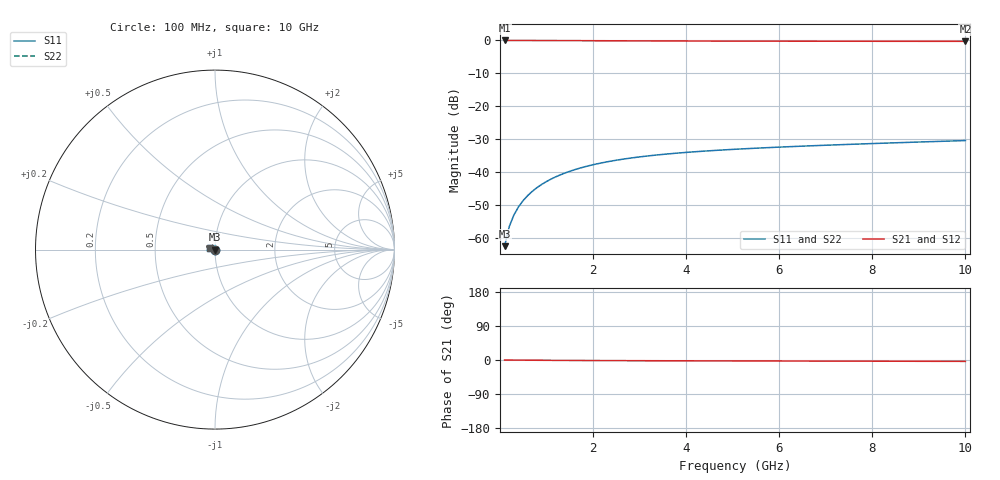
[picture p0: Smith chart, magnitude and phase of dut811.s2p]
! Touchstone file exported from HFSS 2024.1.0
!  File:  C:/UserFiles/LocalFiles/RDL_TSV_Batchsim/temp_TSV1_811_1779877314.aedt
!  Generated:  06:26:44 PM May 27, 2026
!  Design:  TSV1
!  Project:  temp_TSV1_811_1779877314
!  Setup:  Setup1
!  Solution:  Sweep
! Variables:
!  dtsv = 9.96um
!  hbump = 3um
!  htsv = 51.11um
!  lrdl = 252.1521522um
!  p = 40
!  p1 = 57.53um
!  t = 500um
!  trdl = 3um
!  wrdl = 24.89489489um
# GHz S MA R 50.000000
! Terminal data exported
! Port[1] = TSV22_T1
! Port[2] = TSV22_T2
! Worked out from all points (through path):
!   100 points, 100 MHz to 10 GHz, reference 50 ohm
!   highest |S21| = 0.00 dB at 100 MHz (marker M1); lowest = -0.3 dB at 10 GHz (marker M2)
!   lowest |S11| = -62.5 dB at 100 MHz (marker M3), VSWR 1.00, Z = 50 - j0.0748 ohm
!   |S11| at or under -10 dB: start of sweep to end of sweep
!   |S22| runs from -62.5 to -30.4 dB; largest |S21 - S12| = 9.1e-15
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0.1  0.0007528 -83.6  0.9999 -0.1  0.9999 -0.1  0.0007528 -83.6
! Gamma 0 0 0 0
! Port Impedance 50 0 50 0
0.2  0.001498 -89.9  0.9998 -0.2  0.9998 -0.2  0.001498 -89.9
0.3  0.002244 -93.5  0.9996 -0.3  0.9996 -0.3  0.002244 -93.5
0.4  0.002986 -96.5  0.9994 -0.3  0.9994 -0.3  0.002986 -96.5
0.5  0.00372 -99.1  0.9991 -0.4  0.9991 -0.4  0.00372 -99.1
0.6  0.004444 -101.6  0.9988 -0.5  0.9988 -0.5  0.004444 -101.6
0.7  0.005157 -104.0  0.9984 -0.6  0.9984 -0.6  0.005157 -104.0
0.8  0.005857 -106.3  0.998 -0.7  0.998 -0.7  0.005857 -106.3
0.9  0.006544 -108.5  0.9976 -0.7  0.9976 -0.7  0.006544 -108.5
1.1  0.00787 -112.8  0.9966 -0.9  0.9966 -0.9  0.00787 -112.8
1.4  0.009733 -119.0  0.9949 -1.1  0.9949 -1.1  0.009733 -119.0
1.6  0.01089 -122.8  0.9937 -1.2  0.9937 -1.2  0.01089 -122.8
1.8  0.01196 -126.6  0.9925 -1.3  0.9925 -1.3  0.01196 -126.6
2.1  0.01345 -131.8  0.9906 -1.5  0.9906 -1.5  0.01345 -131.8
2.5  0.0152 -138.3  0.9882 -1.7  0.9882 -1.7  0.0152 -138.3
2.9  0.01671 -144.3  0.9859 -1.8  0.9859 -1.8  0.01671 -144.3
3.4  0.01833 -151.0  0.9834 -2.0  0.9834 -2.0  0.01833 -151.0
4.2  0.02045 -160.3  0.9801 -2.2  0.9801 -2.2  0.02045 -160.3
5.1  0.02237 -169.3  0.9772 -2.4  0.9772 -2.4  0.02237 -169.3
6.7  0.02518 177.9  0.9737 -2.8  0.9737 -2.8  0.02518 177.9
8.4  0.0278 167.0  0.9713 -3.2  0.9713 -3.2  0.0278 167.0
10  0.03019 158.7  0.9698 -3.6  0.9698 -3.6  0.03019 158.7
